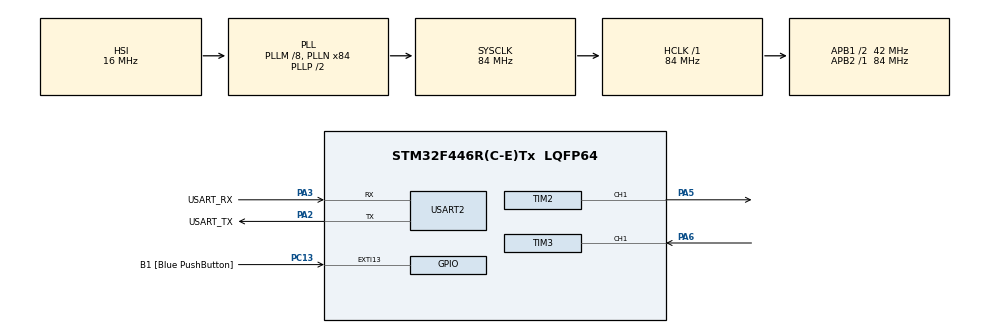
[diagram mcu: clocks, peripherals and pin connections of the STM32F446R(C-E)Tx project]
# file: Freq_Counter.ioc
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Mcu.Family=STM32F4
Mcu.Name=STM32F446R(C-E)Tx
Mcu.Package=LQFP64
NVIC.PriorityGroup=NVIC_PRIORITYGROUP_0
NVIC.TIM3_IRQn=true\:0\:0\:false\:false\:true\:true\:true\:true
PA13.GPIO_Label=TMS
PA13.Mode=Serial_Wire
PA13.Signal=SYS_JTMS-SWDIO
PA14.GPIO_Label=TCK
PA14.Mode=Serial_Wire
PA14.Signal=SYS_JTCK-SWCLK
PA2.GPIO_Label=USART_TX
PA2.Mode=Asynchronous
PA2.Signal=USART2_TX
PA3.GPIO_Label=USART_RX
PA3.Mode=Asynchronous
PA3.Signal=USART2_RX
PA5.Signal=S_TIM2_CH1_ETR
PA6.Signal=S_TIM3_CH1
PB3.GPIO_Label=SWO
PB3.Signal=SYS_JTDO-SWO
PC13.GPIO_Label=B1 [Blue PushButton]
PC13.GPIO_ModeDefaultEXTI=GPIO_MODE_IT_FALLING
PC13.Signal=GPXTI13
PC14-OSC32_IN.Mode=LSE-External-Oscillator
PC14-OSC32_IN.Signal=RCC_OSC32_IN
PC15-OSC32_OUT.Mode=LSE-External-Oscillator
PC15-OSC32_OUT.Signal=RCC_OSC32_OUT
PH0-OSC_IN.Mode=HSE-External-Oscillator
PH0-OSC_IN.Signal=RCC_OSC_IN
PH1-OSC_OUT.Mode=HSE-External-Oscillator
PH1-OSC_OUT.Signal=RCC_OSC_OUT
ProjectManager.HeapSize=0x200
ProjectManager.StackSize=0x400
ProjectManager.TargetToolchain=STM32CubeIDE
RCC.48MHZClocksFreq_Value=84000000
RCC.AHBFreq_Value=84000000
RCC.APB1CLKDivider=RCC_HCLK_DIV2
RCC.APB1Freq_Value=42000000
RCC.APB1TimFreq_Value=84000000
RCC.APB2Freq_Value=84000000
RCC.APB2TimFreq_Value=84000000
RCC.CortexFreq_Value=84000000
RCC.FLatency-AdvancedSettings=FLASH_LATENCY_2
RCC.HCLKFreq_Value=84000000
RCC.HSE_VALUE=8000000
RCC.HSI_VALUE=16000000
RCC.PLLM=8
RCC.PLLN=84
RCC.SYSCLKFreq_VALUE=84000000
RCC.SYSCLKSource=RCC_SYSCLKSOURCE_PLLCLK
RCC.USBFreq_Value=84000000
RCC.VCOOutputFreq_Value=168000000
SH.S_TIM2_CH1_ETR.0=TIM2_CH1,PWM Generation1 CH1
SH.S_TIM3_CH1.0=TIM3_CH1,PWM_Input_1
TIM2.AutoReloadPreload=TIM_AUTORELOAD_PRELOAD_ENABLE
TIM2.Channel-PWM\ Generation1\ CH1=TIM_CHANNEL_1
TIM2.Period=839
TIM2.Prescaler=99
TIM2.Pulse-PWM\ Generation1\ CH1=0
TIM3.Prescaler=89
USART2.VirtualMode=VM_ASYNC
VP_TIM3_VS_ClockSourceINT.Mode=Internal
board=NUCLEO-F446RE

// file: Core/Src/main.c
/* USER CODE BEGIN Header */
/**
 ******************************************************************************
 * @file           : main.c
 * @brief          : Main program body
 ******************************************************************************
 * @attention
 *
 * Copyright (c) 2025 STMicroelectronics.
 * All rights reserved.
 *
 * This software is licensed under terms that can be found in the LICENSE file
 * in the root directory of this software component.
 * If no LICENSE file comes with this software, it is provided AS-IS.
 *
 ******************************************************************************
 */
/* USER CODE END Header */
#include "main.h"

/* USER CODE BEGIN Includes */
#include "stdbool.h"
#include "string.h"
#include "stdio.h"
/* USER CODE END Includes */

/* USER CODE BEGIN PD */
#define F_CLK 84000000UL
/* USER CODE END PD */

TIM_HandleTypeDef htim2;
TIM_HandleTypeDef htim3;

UART_HandleTypeDef huart2;

/* USER CODE BEGIN PV */
uint32_t frequency = 0, cycletime = 0;
uint32_t duty_int = 0, duty_frac = 0; // Replace float duty with integer parts
char message[50];
/* USER CODE END PV */

void SystemClock_Config(void);
static void MX_GPIO_Init(void);
static void MX_TIM2_Init(void);
static void MX_TIM3_Init(void);
static void MX_USART2_UART_Init(void);

int main(void)
{

  /* MCU Configuration--------------------------------------------------------*/

  /* Reset of all peripherals, Initializes the Flash interface and the Systick. */
  HAL_Init();

  /* Configure the system clock */
  SystemClock_Config();

  /* Initialize all configured peripherals */
  MX_GPIO_Init();
  MX_TIM2_Init();
  MX_TIM3_Init();
  MX_USART2_UART_Init();
  /* USER CODE BEGIN 2 */
  HAL_TIM_PWM_Start(&htim2, TIM_CHANNEL_1);
  TIM2->CCR1 = 50;
  uint16_t duty_cycle = 50;
  HAL_TIM_IC_Start_IT(&htim3, TIM_CHANNEL_1);
  HAL_TIM_IC_Start_IT(&htim3, TIM_CHANNEL_2); // Add this line
  /* USER CODE END 2 */

  /* Infinite loop */
  while (1)
  {

    /* USER CODE BEGIN 3 */

    TIM2->CCR1 = duty_cycle; // Update duty cycle
    duty_cycle += 10;
    if (duty_cycle > 840)
    {
      duty_cycle = 0; // Reset duty cycle if it exceeds 100%
    }
    HAL_UART_Transmit(&huart2, (uint8_t *)message, strlen(message), HAL_MAX_DELAY);
    HAL_Delay(500); // Add delay to prevent getting stuck and observe changes
    /* USER CODE END 3 */
  }
}

void SystemClock_Config(void)
{
  RCC_OscInitTypeDef RCC_OscInitStruct = {0};
  RCC_ClkInitTypeDef RCC_ClkInitStruct = {0};

  /** Configure the main internal regulator output voltage
   */
  __HAL_RCC_PWR_CLK_ENABLE();
  __HAL_PWR_VOLTAGESCALING_CONFIG(PWR_REGULATOR_VOLTAGE_SCALE3);

  /** Initializes the RCC Oscillators according to the specified parameters
   * in the RCC_OscInitTypeDef structure.
   */
  RCC_OscInitStruct.OscillatorType = RCC_OSCILLATORTYPE_HSI;
  RCC_OscInitStruct.HSIState = RCC_HSI_ON;
  RCC_OscInitStruct.HSICalibrationValue = RCC_HSICALIBRATION_DEFAULT;
  RCC_OscInitStruct.PLL.PLLState = RCC_PLL_ON;
  RCC_OscInitStruct.PLL.PLLSource = RCC_PLLSOURCE_HSI;
  RCC_OscInitStruct.PLL.PLLM = 8;
  RCC_OscInitStruct.PLL.PLLN = 84;
  RCC_OscInitStruct.PLL.PLLP = RCC_PLLP_DIV2;
  RCC_OscInitStruct.PLL.PLLQ = 2;
  RCC_OscInitStruct.PLL.PLLR = 2;
  if (HAL_RCC_OscConfig(&RCC_OscInitStruct) != HAL_OK)
  {
    Error_Handler();
  }

  /** Initializes the CPU, AHB and APB buses clocks
   */
  RCC_ClkInitStruct.ClockType = RCC_CLOCKTYPE_HCLK | RCC_CLOCKTYPE_SYSCLK | RCC_CLOCKTYPE_PCLK1 | RCC_CLOCKTYPE_PCLK2;
  RCC_ClkInitStruct.SYSCLKSource = RCC_SYSCLKSOURCE_PLLCLK;
  RCC_ClkInitStruct.AHBCLKDivider = RCC_SYSCLK_DIV1;
  RCC_ClkInitStruct.APB1CLKDivider = RCC_HCLK_DIV2;
  RCC_ClkInitStruct.APB2CLKDivider = RCC_HCLK_DIV1;

  if (HAL_RCC_ClockConfig(&RCC_ClkInitStruct, FLASH_LATENCY_2) != HAL_OK)
  {
    Error_Handler();
  }
}

static void MX_TIM2_Init(void)
{

  TIM_MasterConfigTypeDef sMasterConfig = {0};
  TIM_OC_InitTypeDef sConfigOC = {0};

  htim2.Instance = TIM2;
  htim2.Init.Prescaler = 99;
  htim2.Init.CounterMode = TIM_COUNTERMODE_UP;
  htim2.Init.Period = 839;
  htim2.Init.ClockDivision = TIM_CLOCKDIVISION_DIV1;
  htim2.Init.AutoReloadPreload = TIM_AUTORELOAD_PRELOAD_ENABLE;
  if (HAL_TIM_PWM_Init(&htim2) != HAL_OK)
  {
    Error_Handler();
  }
  sMasterConfig.MasterOutputTrigger = TIM_TRGO_RESET;
  sMasterConfig.MasterSlaveMode = TIM_MASTERSLAVEMODE_DISABLE;
  if (HAL_TIMEx_MasterConfigSynchronization(&htim2, &sMasterConfig) != HAL_OK)
  {
    Error_Handler();
  }
  sConfigOC.OCMode = TIM_OCMODE_PWM1;
  sConfigOC.Pulse = 0;
  sConfigOC.OCPolarity = TIM_OCPOLARITY_HIGH;
  sConfigOC.OCFastMode = TIM_OCFAST_DISABLE;
  if (HAL_TIM_PWM_ConfigChannel(&htim2, &sConfigOC, TIM_CHANNEL_1) != HAL_OK)
  {
    Error_Handler();
  }
  HAL_TIM_MspPostInit(&htim2);
}

static void MX_TIM3_Init(void)
{

  TIM_ClockConfigTypeDef sClockSourceConfig = {0};
  TIM_SlaveConfigTypeDef sSlaveConfig = {0};
  TIM_IC_InitTypeDef sConfigIC = {0};
  TIM_MasterConfigTypeDef sMasterConfig = {0};

  htim3.Instance = TIM3;
  htim3.Init.Prescaler = 83; // Adjust prescaler
  htim3.Init.CounterMode = TIM_COUNTERMODE_UP;
  htim3.Init.Period = 65535;
  htim3.Init.ClockDivision = TIM_CLOCKDIVISION_DIV1;
  htim3.Init.AutoReloadPreload = TIM_AUTORELOAD_PRELOAD_DISABLE;
  if (HAL_TIM_Base_Init(&htim3) != HAL_OK)
  {
    Error_Handler();
  }
  sClockSourceConfig.ClockSource = TIM_CLOCKSOURCE_INTERNAL;
  if (HAL_TIM_ConfigClockSource(&htim3, &sClockSourceConfig) != HAL_OK)
  {
    Error_Handler();
  }
  if (HAL_TIM_IC_Init(&htim3) != HAL_OK)
  {
    Error_Handler();
  }
  sSlaveConfig.SlaveMode = TIM_SLAVEMODE_RESET;
  sSlaveConfig.InputTrigger = TIM_TS_TI1FP1;
  sSlaveConfig.TriggerPolarity = TIM_INPUTCHANNELPOLARITY_RISING;
  sSlaveConfig.TriggerPrescaler = TIM_ICPSC_DIV1;
  sSlaveConfig.TriggerFilter = 0;
  if (HAL_TIM_SlaveConfigSynchro(&htim3, &sSlaveConfig) != HAL_OK)
  {
    Error_Handler();
  }
  sConfigIC.ICPolarity = TIM_INPUTCHANNELPOLARITY_RISING;
  sConfigIC.ICSelection = TIM_ICSELECTION_DIRECTTI;
  sConfigIC.ICPrescaler = TIM_ICPSC_DIV1;
  sConfigIC.ICFilter = 0;
  if (HAL_TIM_IC_ConfigChannel(&htim3, &sConfigIC, TIM_CHANNEL_1) != HAL_OK)
  {
    Error_Handler();
  }

  sConfigIC.ICPolarity = TIM_INPUTCHANNELPOLARITY_FALLING;
  sConfigIC.ICSelection = TIM_ICSELECTION_INDIRECTTI;
  if (HAL_TIM_IC_ConfigChannel(&htim3, &sConfigIC, TIM_CHANNEL_2) != HAL_OK)
  {
    Error_Handler();
  }
  sMasterConfig.MasterOutputTrigger = TIM_TRGO_RESET;
  sMasterConfig.MasterSlaveMode = TIM_MASTERSLAVEMODE_DISABLE;
  if (HAL_TIMEx_MasterConfigSynchronization(&htim3, &sMasterConfig) != HAL_OK)
  {
    Error_Handler();
  }
}

static void MX_USART2_UART_Init(void)
{

  huart2.Instance = USART2;
  huart2.Init.BaudRate = 115200;
  huart2.Init.WordLength = UART_WORDLENGTH_8B;
  huart2.Init.StopBits = UART_STOPBITS_1;
  huart2.Init.Parity = UART_PARITY_NONE;
  huart2.Init.Mode = UART_MODE_TX_RX;
  huart2.Init.HwFlowCtl = UART_HWCONTROL_NONE;
  huart2.Init.OverSampling = UART_OVERSAMPLING_16;
  if (HAL_UART_Init(&huart2) != HAL_OK)
  {
    Error_Handler();
  }
}

static void MX_GPIO_Init(void)
{
  GPIO_InitTypeDef GPIO_InitStruct = {0};

  /* GPIO Ports Clock Enable */
  __HAL_RCC_GPIOC_CLK_ENABLE();
  __HAL_RCC_GPIOH_CLK_ENABLE();
  __HAL_RCC_GPIOA_CLK_ENABLE();
  __HAL_RCC_GPIOB_CLK_ENABLE();

  /*Configure GPIO pin : B1_Pin */
  GPIO_InitStruct.Pin = B1_Pin;
  GPIO_InitStruct.Mode = GPIO_MODE_IT_FALLING;
  GPIO_InitStruct.Pull = GPIO_NOPULL;
  HAL_GPIO_Init(B1_GPIO_Port, &GPIO_InitStruct);

}

/* USER CODE BEGIN 4 */
void HAL_TIM_IC_CaptureCallback(TIM_HandleTypeDef *htim)
{
  if (htim->Instance == TIM3)
  {
    if (htim->Channel == HAL_TIM_ACTIVE_CHANNEL_1)
    {
      // Get the values from both channels
      uint32_t ic1_value = HAL_TIM_ReadCapturedValue(htim, TIM_CHANNEL_1); // Rising edge
      uint32_t ic2_value = HAL_TIM_ReadCapturedValue(htim, TIM_CHANNEL_2); // Falling edge

      cycletime = ic1_value;

      if (cycletime != 0)
      {
        frequency = (F_CLK / ((htim3.Init.Prescaler + 1) * cycletime));

        // Calculate duty cycle as integer with 2 decimal parts
        uint32_t duty_raw = (ic2_value * 10000) / cycletime; // Multiply by 10000 for 2 decimal precision
        duty_int = duty_raw / 100;                           // Integer part
        duty_frac = duty_raw % 100;                          // Fractional part (2 digits)

        sprintf(message, "Freq: %lu Hz, Duty: %lu.%02lu %%\r\n", frequency, duty_int, duty_frac);
        // HAL_UART_Transmit(&huart2, (uint8_t *)message, strlen(message), HAL_MAX_DELAY);
      }
    }
  }
  // HAL_Delay(100);
}
/* USER CODE END 4 */

void Error_Handler(void)
{
  __disable_irq();
  while (1)
  {
  }
}
